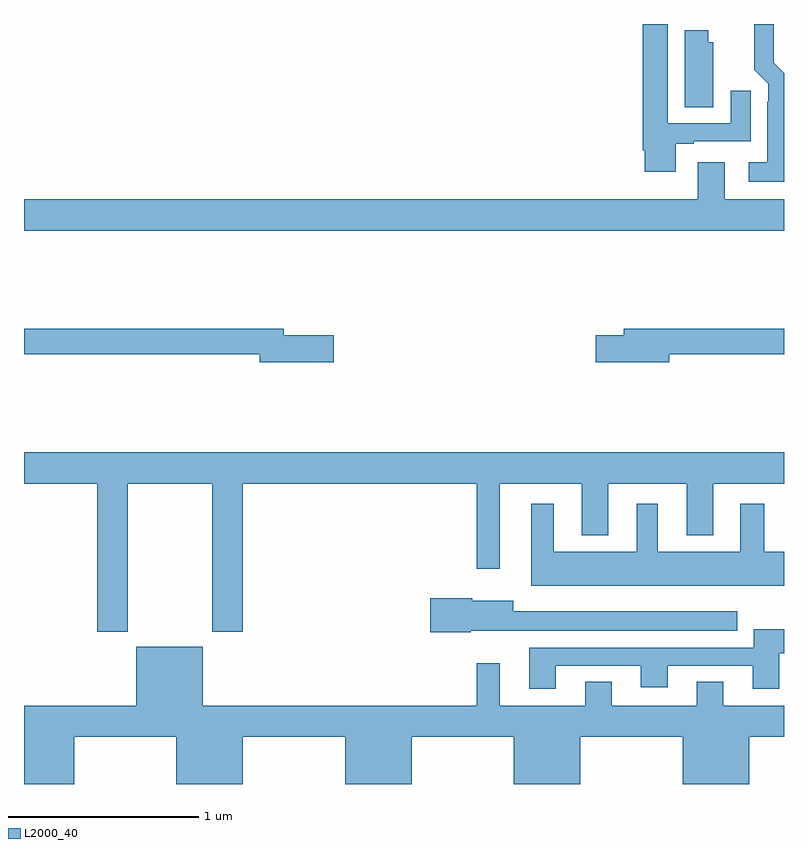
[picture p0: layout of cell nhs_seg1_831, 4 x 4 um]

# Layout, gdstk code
import gdstk
lib = gdstk.Library(unit=1e-6, precision=1e-09)
def P(c, l, *ps):  # polygons
    for p in ps: c.add(gdstk.Polygon(p, *l))
L2000_40 = (2000, 40)

nhs_seg1_831 = lib.new_cell('nhs_seg1_831')
P(nhs_seg1_831, L2000_40, [(160.429,505.569),(160.525,505.569),(160.525,505.581),(160.825,505.581),(160.825,505.849),(160.721,505.849),(160.721,505.677),(160.387,505.677),(160.387,506.199),(160.256,506.199),(160.256,505.534),(160.268,505.534),(160.268,505.422),(160.429,505.422)],
  [(161,505.941),(160.945,505.996),(160.945,506.199),(160.843,506.199),(160.843,505.958),(160.917,505.884),(160.917,505.79),(160.913,505.79),(160.913,505.471),(160.815,505.471),(160.815,505.37),(161,505.37)],
  [(160.627,506.103),(160.6,506.103),(160.6,506.167),(160.478,506.167),(160.478,505.762),(160.627,505.762)],
  [(160.547,505.471),(160.547,505.276),(157,505.276),(157,505.112),(161,505.112),(161,505.276),(160.687,505.276),(160.687,505.471)],
  [(160.396,504.46),(161,504.46),(161,504.596),(160.157,504.596),(160.157,504.56),(160.008,504.56),(160.008,504.418),(160.396,504.418)],
  [(158.629,504.56),(158.368,504.56),(158.368,504.596),(157,504.596),(157,504.46),(158.24,504.46),(158.24,504.418),(158.629,504.418)],
  [(157.545,503.78),(157.99,503.78),(157.99,503.001),(158.15,503.001),(158.15,503.78),(159.384,503.78),(159.384,503.331),(159.505,503.331),(159.505,503.78),(159.935,503.78),(159.935,503.507),(160.075,503.507),(160.075,503.78),(160.487,503.78),(160.487,503.507),(160.627,503.507),(160.627,503.78),(161,503.78),(161,503.944),(157,503.944),(157,503.78),(157.385,503.78),(157.385,503.001),(157.545,503.001)],
  [(161,503.422),(160.897,503.422),(160.897,503.674),(160.769,503.674),(160.769,503.422),(160.336,503.422),(160.336,503.674),(160.226,503.674),(160.226,503.422),(159.787,503.422),(159.787,503.674),(159.671,503.674),(159.671,503.243),(161,503.243)],
  [(159.35,503.006),(160.753,503.006),(160.753,503.107),(159.574,503.107),(159.574,503.164),(159.36,503.164),(159.36,503.177),(159.138,503.177),(159.138,502.999),(159.35,502.999)],
  [(159.799,502.821),(160.247,502.821),(160.247,502.709),(160.387,502.709),(160.387,502.821),(160.835,502.821),(160.835,502.701),(160.975,502.701),(160.975,502.886),(161,502.886),(161,503.014),(160.841,503.014),(160.841,502.917),(159.659,502.917),(159.659,502.701),(159.799,502.701)],
  [(157.264,502.448),(157.802,502.448),(157.802,502.199),(158.152,502.199),(158.152,502.448),(158.69,502.448),(158.69,502.199),(159.04,502.199),(159.04,502.448),(159.578,502.448),(159.578,502.199),(159.928,502.199),(159.928,502.448),(160.466,502.448),(160.466,502.199),(160.816,502.199),(160.816,502.448),(161,502.448),(161,502.612),(160.681,502.612),(160.681,502.736),(160.541,502.736),(160.541,502.612),(160.093,502.612),(160.093,502.736),(159.953,502.736),(159.953,502.612),(159.505,502.612),(159.505,502.834),(159.384,502.834),(159.384,502.612),(157.942,502.612),(157.942,502.921),(157.592,502.921),(157.592,502.612),(157,502.612),(157,502.199),(157.264,502.199)])

lib.write_gds('nhs_seg1_831.gds')
